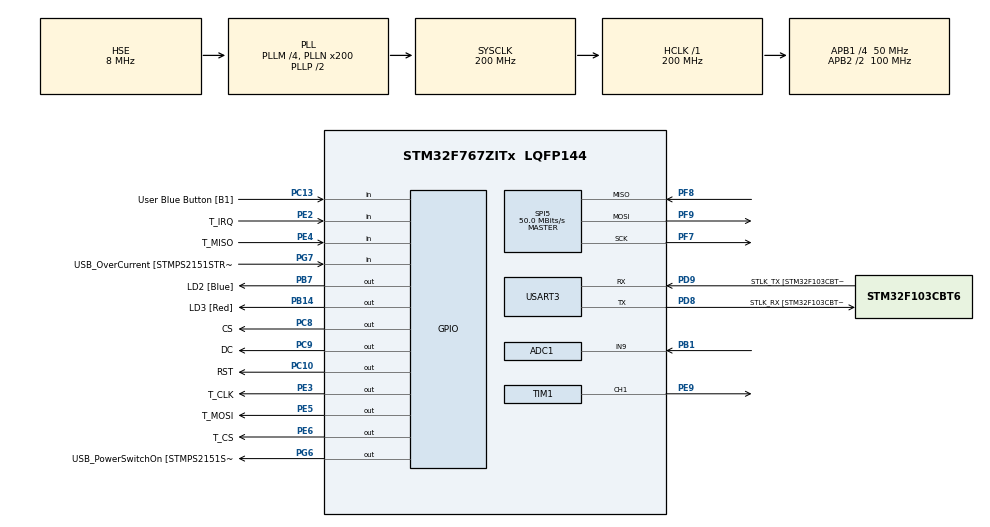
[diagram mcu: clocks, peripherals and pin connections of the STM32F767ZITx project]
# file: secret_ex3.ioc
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ADC1.Channel-0\#ChannelRegularConversion=ADC_CHANNEL_9
ADC1.ContinuousConvMode=ENABLE
ADC1.EOCSelection=ADC_EOC_SEQ_CONV
ADC1.NbrOfConversionFlag=1
ADC1.Rank-0\#ChannelRegularConversion=1
ADC1.SamplingTime-0\#ChannelRegularConversion=ADC_SAMPLETIME_3CYCLES
ADC1.master=1
CORTEX_M7.ART_ACCLERATOR_ENABLE=1
CORTEX_M7.CPU_DCache=Enabled
CORTEX_M7.CPU_ICache=Enabled
CORTEX_M7.PREFETCH_ENABLE=1
Mcu.Family=STM32F7
Mcu.Name=STM32F767ZITx
Mcu.Package=LQFP144
NVIC.PriorityGroup=NVIC_PRIORITYGROUP_4
PA1.GPIO_Label=RMII_REF_CLK [LAN8742A-CZ-TR_REFCLK0]
PA1.Signal=ETH_REF_CLK
PA13.GPIO_Label=TMS
PA13.Mode=Serial_Wire
PA13.Signal=SYS_JTMS-SWDIO
PA14.GPIO_Label=TCK
PA14.Mode=Serial_Wire
PA14.Signal=SYS_JTCK-SWCLK
PA2.GPIO_Label=RMII_MDIO [LAN8742A-CZ-TR_MDIO]
PA2.Signal=ETH_MDIO
PA7.GPIO_Label=RMII_CRS_DV [LAN8742A-CZ-TR_CRS_DV]
PA7.Signal=ETH_CRS_DV
PB1.Signal=ADCx_IN9
PB13.GPIO_Label=RMII_TXD1 [LAN8742A-CZ-TR_TXD1]
PB13.Signal=ETH_TXD1
PB14.GPIO_Label=LD3 [Red]
PB14.Signal=GPIO_Output
PB3.GPIO_Label=SWO
PB3.Signal=SYS_JTDO-SWO
PB7.GPIO_Label=LD2 [Blue]
PB7.Signal=GPIO_Output
PC1.GPIO_Label=RMII_MDC [LAN8742A-CZ-TR_MDC]
PC1.Signal=ETH_MDC
PC10.GPIO_Label=RST
PC10.GPIO_Speed=GPIO_SPEED_FREQ_VERY_HIGH
PC10.Signal=GPIO_Output
PC13.GPIO_Label=User Blue Button [B1]
PC13.Signal=GPIO_Input
PC14/OSC32_IN.Mode=LSE-External-Oscillator
PC14/OSC32_IN.Signal=RCC_OSC32_IN
PC15/OSC32_OUT.Mode=LSE-External-Oscillator
PC15/OSC32_OUT.Signal=RCC_OSC32_OUT
PC4.GPIO_Label=RMII_RXD0 [LAN8742A-CZ-TR_RXD0]
PC4.Signal=ETH_RXD0
PC5.GPIO_Label=RMII_RXD1 [LAN8742A-CZ-TR_RXD1]
PC5.Signal=ETH_RXD1
PC8.GPIO_Label=CS
PC8.GPIO_Speed=GPIO_SPEED_FREQ_VERY_HIGH
PC8.Signal=GPIO_Output
PC9.GPIO_Label=DC
PC9.GPIO_Speed=GPIO_SPEED_FREQ_VERY_HIGH
PC9.Signal=GPIO_Output
PD8.GPIO_Label=STLK_RX [STM32F103CBT6_PA3]
PD8.Mode=Asynchronous
PD8.Signal=USART3_TX
PD9.GPIO_Label=STLK_TX [STM32F103CBT6_PA2]
PD9.Mode=Asynchronous
PD9.Signal=USART3_RX
PE2.GPIO_Label=T_IRQ
PE2.Signal=GPIO_Input
PE3.GPIO_Label=T_CLK
PE3.GPIO_Speed=GPIO_SPEED_FREQ_VERY_HIGH
PE3.Signal=GPIO_Output
PE4.GPIO_Label=T_MISO
PE4.Signal=GPIO_Input
PE5.GPIO_Label=T_MOSI
PE5.GPIO_Speed=GPIO_SPEED_FREQ_VERY_HIGH
PE5.Signal=GPIO_Output
PE6.GPIO_Label=T_CS
PE6.GPIO_Speed=GPIO_SPEED_FREQ_VERY_HIGH
PE6.Signal=GPIO_Output
PE9.Signal=S_TIM1_CH1
PF7.Mode=Full_Duplex_Master
PF7.Signal=SPI5_SCK
PF8.Mode=Full_Duplex_Master
PF8.Signal=SPI5_MISO
PF9.Mode=Full_Duplex_Master
PF9.Signal=SPI5_MOSI
PG11.GPIO_Label=RMII_TX_EN [LAN8742A-CZ-TR_TXEN]
PG11.Signal=ETH_TX_EN
PG13.GPIO_Label=RMII_TXD0 [LAN8742A-CZ-TR_TXD0]
PG13.Signal=ETH_TXD0
PG6.GPIO_Label=USB_PowerSwitchOn [STMPS2151STR_EN]
PG6.Signal=GPIO_Output
PG7.GPIO_Label=USB_OverCurrent [STMPS2151STR_FAULT]
PG7.Signal=GPIO_Input
PH0/OSC_IN.GPIO_Label=MCO [STM32F103CBT6_PA8]
PH0/OSC_IN.Mode=HSE-External-Clock-Source
PH0/OSC_IN.Signal=RCC_OSC_IN
PH1/OSC_OUT.Mode=HSE-External-Clock-Source
PH1/OSC_OUT.Signal=RCC_OSC_OUT
ProjectManager.HeapSize=0x200
ProjectManager.StackSize=0x400
ProjectManager.TargetToolchain=STM32CubeIDE
RCC.48MHZClocksFreq_Value=24000000
RCC.AHBFreq_Value=200000000
RCC.APB1CLKDivider=RCC_HCLK_DIV4
RCC.APB1Freq_Value=50000000
RCC.APB1TimFreq_Value=100000000
RCC.APB2CLKDivider=RCC_HCLK_DIV2
RCC.APB2Freq_Value=100000000
RCC.APB2TimFreq_Value=200000000
RCC.CortexFreq_Value=200000000
RCC.HCLKFreq_Value=200000000
RCC.HSE_VALUE=8000000
RCC.HSI_VALUE=16000000
RCC.PLLM=4
RCC.PLLMUL=RCC_PLL_MUL9
RCC.PLLN=200
RCC.PLLQ=9
RCC.PLLSourceVirtual=RCC_PLLSOURCE_HSE
RCC.PRESCALERUSB=RCC_USBCLKSOURCE_PLL_DIV1_5
RCC.SYSCLKFreq_VALUE=200000000
RCC.SYSCLKSource=RCC_SYSCLKSOURCE_PLLCLK
RCC.SYSCLKSourceVirtual=RCC_SYSCLKSOURCE_PLLCLK
RCC.USBFreq_Value=44444444.44444445
RCC.VCOOutputFreq_Value=400000000
SH.ADCx_IN9.0=ADC1_IN9,IN9
SH.S_TIM1_CH1.0=TIM1_CH1,PWM Generation1 CH1
SPI5.CalculateBaudRate=50.0 MBits/s
SPI5.DataSize=SPI_DATASIZE_8BIT
SPI5.Direction=SPI_DIRECTION_2LINES
SPI5.Mode=SPI_MODE_MASTER
SPI5.NSSPMode=SPI_NSS_PULSE_DISABLE
SPI5.VirtualType=VM_MASTER
TIM1.Channel-PWM\ Generation1\ CH1=TIM_CHANNEL_1
TIM1.Period=100
TIM1.Prescaler=2000
TIM1.Pulse-PWM\ Generation1\ CH1=25
USART3.VirtualMode-Asynchronous=VM_ASYNC
VP_RNG_VS_RNG.Mode=RNG_Activate
VP_TIM1_VS_ClockSourceINT.Mode=Internal
board=NUCLEO-F767ZI

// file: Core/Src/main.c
/* USER CODE BEGIN Header */
/**
 ******************************************************************************
 * @file           : main.c
 * @brief          : Main program body
 ******************************************************************************
 * @attention
 *
 * <h2><center>&copy; Copyright (c) 2021 STMicroelectronics.
 * All rights reserved.</center></h2>
 *
 * This software component is licensed by ST under BSD 3-Clause license,
 * the "License"; You may not use this file except in compliance with the
 * License. You may obtain a copy of the License at:
 *                        opensource.org/licenses/BSD-3-Clause
 *
 ******************************************************************************
 */
/* USER CODE END Header */
#include "main.h"
#include "adc.h"
#include "rng.h"
#include "spi.h"
#include "tim.h"
#include "usart.h"
#include "gpio.h"

/* USER CODE BEGIN Includes */
#include "stdio.h"
#include "ILI9341_Touchscreen.h"

#include "ILI9341_STM32_Driver.h"
#include "ILI9341_GFX.h"

#include "snow_tiger.h"
/* USER CODE END Includes */

/* USER CODE BEGIN PV */
/* Private variables ---------------------------------------------------------*/

/* USER CODE END PV */

void SystemClock_Config(void);
/* USER CODE BEGIN PFP */
/* Private function prototypes -----------------------------------------------*/

/* USER CODE END PFP */

/* USER CODE BEGIN 0 */
#include "stdarg.h"

void sendString(UART_HandleTypeDef huart, char *tosend) {
	while (__HAL_UART_GET_FLAG(&huart,UART_FLAG_TC) == RESET) {
	}
	HAL_UART_Transmit(&huart, (uint8_t*) tosend, strlen(tosend),
	HAL_MAX_DELAY);
}
// super printf for usart3(usb) use just like printf
void DEBUGPRINTF(const char *format, ...) {
	static char buffer[500]; // You can adjust the buffer size as needed
	va_list args;
	va_start(args, format);
	vsnprintf(buffer, sizeof(buffer), format, args);
	va_end(args);
	sendString(huart3, buffer);
}

//convert 12 bit to 0-100
int superConverter(uint32_t adc_val) {
	float split = 0xFFF / 12;
	int section = adc_val / split;
	if (section >= 12)
		section = 11;
	return 25 + section * 5;
}

uint16_t CalculateRGB565Color(uint8_t r, uint8_t g, uint8_t b) {
	return ((r >> 3) << 11) | ((g >> 2) << 5) | (b >> 3);
}
/* USER CODE END 0 */

int main(void) {

	/* Enable I-Cache---------------------------------------------------------*/
	SCB_EnableICache();

	/* Enable D-Cache---------------------------------------------------------*/
	SCB_EnableDCache();

	/* MCU Configuration--------------------------------------------------------*/

	/* Reset of all peripherals, Initializes the Flash interface and the Systick. */
	HAL_Init();

	/* Configure the system clock */
	SystemClock_Config();

	/* Initialize all configured peripherals */
	MX_GPIO_Init();
	MX_USART3_UART_Init();
	MX_SPI5_Init();
	MX_TIM1_Init();
	MX_RNG_Init();
	MX_ADC1_Init();
	/* USER CODE BEGIN 2 */
	ILI9341_Init(); //initial driver setup to drive ili9341
	HAL_TIM_PWM_Start(&htim1, TIM_CHANNEL_1);
	HAL_ADC_Start(&hadc1);
	uint32_t adc_val;
	uint32_t prevTextColor = 0;
	ILI9341_Fill_Screen(WHITE);
	ILI9341_Set_Rotation(SCREEN_HORIZONTAL_1);
	/* USER CODE END 2 */

	/* Infinite loop */
	while (1) {

		/* USER CODE BEGIN 3 */
		while (HAL_ADC_PollForConversion(&hadc1, 100) != HAL_OK) {
		}
		adc_val = HAL_ADC_GetValue(&hadc1);
		DEBUGPRINTF("ADC READ %d\n", adc_val);

		char buffer[20];
		int percent = superConverter(adc_val);
		uint32_t myTextColor;
		uint32_t myBgColor;
		sprintf(buffer, "KNOB %d       ", percent);
		htim1.Instance->CCR1 = percent;

		if (percent >= 25 && percent <= 45) {
			myTextColor = YELLOW;
			myBgColor = GREEN;
		} else if (percent >= 50 && percent <= 65) {
			myTextColor = BLUE;
			myBgColor = YELLOW;
		} else {
			if (myTextColor == CYAN)
				myTextColor = RED;
			else
				myTextColor = CYAN;
			myBgColor = RED;
		}

		if (prevTextColor != myTextColor) {
			ILI9341_Fill_Screen(myBgColor);
			ILI9341_Draw_Text(buffer, 125, 115, myTextColor, 2, myBgColor);
			prevTextColor = myTextColor;
		}

		HAL_Delay(200);
	}
	/* USER CODE END 3 */
}

void SystemClock_Config(void) {
	RCC_OscInitTypeDef RCC_OscInitStruct = { 0 };
	RCC_ClkInitTypeDef RCC_ClkInitStruct = { 0 };

	/** Configure LSE Drive Capability
	 */
	HAL_PWR_EnableBkUpAccess();

	/** Configure the main internal regulator output voltage
	 */
	__HAL_RCC_PWR_CLK_ENABLE();
	__HAL_PWR_VOLTAGESCALING_CONFIG(PWR_REGULATOR_VOLTAGE_SCALE1);

	/** Initializes the RCC Oscillators according to the specified parameters
	 * in the RCC_OscInitTypeDef structure.
	 */
	RCC_OscInitStruct.OscillatorType = RCC_OSCILLATORTYPE_HSE;
	RCC_OscInitStruct.HSEState = RCC_HSE_BYPASS;
	RCC_OscInitStruct.PLL.PLLState = RCC_PLL_ON;
	RCC_OscInitStruct.PLL.PLLSource = RCC_PLLSOURCE_HSE;
	RCC_OscInitStruct.PLL.PLLM = 4;
	RCC_OscInitStruct.PLL.PLLN = 200;
	RCC_OscInitStruct.PLL.PLLP = RCC_PLLP_DIV2;
	RCC_OscInitStruct.PLL.PLLQ = 9;
	RCC_OscInitStruct.PLL.PLLR = 2;
	if (HAL_RCC_OscConfig(&RCC_OscInitStruct) != HAL_OK) {
		Error_Handler();
	}

	/** Activate the Over-Drive mode
	 */
	if (HAL_PWREx_EnableOverDrive() != HAL_OK) {
		Error_Handler();
	}

	/** Initializes the CPU, AHB and APB buses clocks
	 */
	RCC_ClkInitStruct.ClockType = RCC_CLOCKTYPE_HCLK | RCC_CLOCKTYPE_SYSCLK
			| RCC_CLOCKTYPE_PCLK1 | RCC_CLOCKTYPE_PCLK2;
	RCC_ClkInitStruct.SYSCLKSource = RCC_SYSCLKSOURCE_PLLCLK;
	RCC_ClkInitStruct.AHBCLKDivider = RCC_SYSCLK_DIV1;
	RCC_ClkInitStruct.APB1CLKDivider = RCC_HCLK_DIV4;
	RCC_ClkInitStruct.APB2CLKDivider = RCC_HCLK_DIV2;

	if (HAL_RCC_ClockConfig(&RCC_ClkInitStruct, FLASH_LATENCY_6) != HAL_OK) {
		Error_Handler();
	}
}

void Error_Handler(void) {
	while (1) {
	}
}
